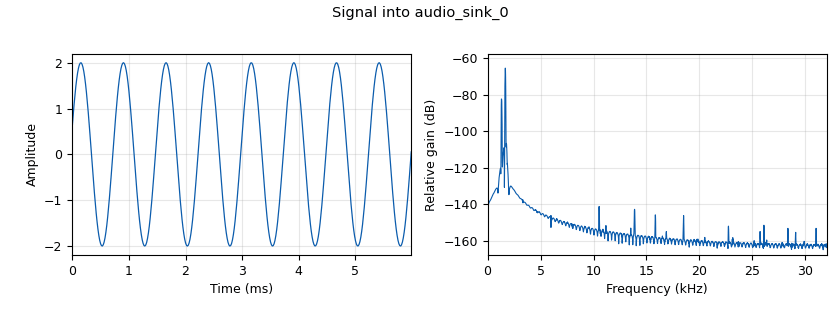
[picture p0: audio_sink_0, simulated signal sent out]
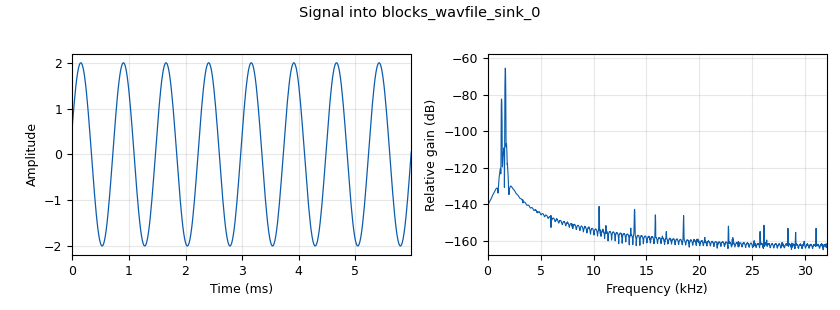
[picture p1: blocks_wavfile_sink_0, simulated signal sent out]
options:
  parameters:
    author: ipsit
    copyright: MIT
    description: 'My first '
    generate_options: qt_gui
    id: my_first
    output_language: python
    title: my first flowgraph
  states: {}

blocks:
- name: samp_rate
  id: variable
  parameters:
    value: '64000'
  states: {}
- name: audio_sink_0
  id: audio_sink
  parameters:
    samp_rate: samp_rate
  states: {}
- name: blocks_repeat_0
  id: blocks_repeat
  parameters:
    interp: '32000'
    type: float
  states: {}
- name: blocks_throttle_0
  id: blocks_throttle
  parameters:
    samples_per_second: samp_rate
    type: float
  states: {}
- name: blocks_vco_f_0
  id: blocks_vco_f
  parameters:
    amplitude: '2'
    samp_rate: samp_rate
    sensitivity: '32'
  states: {}
- name: blocks_vector_source_x_0
  id: blocks_vector_source_x
  parameters:
    repeat: 'True'
    type: float
    vector: (262,262,293,261,349,329,261,261,293,261,392,349,261,261,277,440,392,349,329,466,466,440,349,392,349)
  states: {}
- name: blocks_wavfile_sink_0
  id: blocks_wavfile_sink
  parameters:
    bits_per_sample: '8'
    file: /home/ipsit/Documents/EE 340/Lab 1/hbd.wav
    samp_rate: samp_rate
  states: {}

connections:
- [blocks_repeat_0, '0', blocks_vco_f_0, '0']
- [blocks_throttle_0, '0', audio_sink_0, '0']
- [blocks_throttle_0, '0', blocks_wavfile_sink_0, '0']
- [blocks_vco_f_0, '0', blocks_throttle_0, '0']
- [blocks_vector_source_x_0, '0', blocks_repeat_0, '0']

metadata:
  file_format: 1
